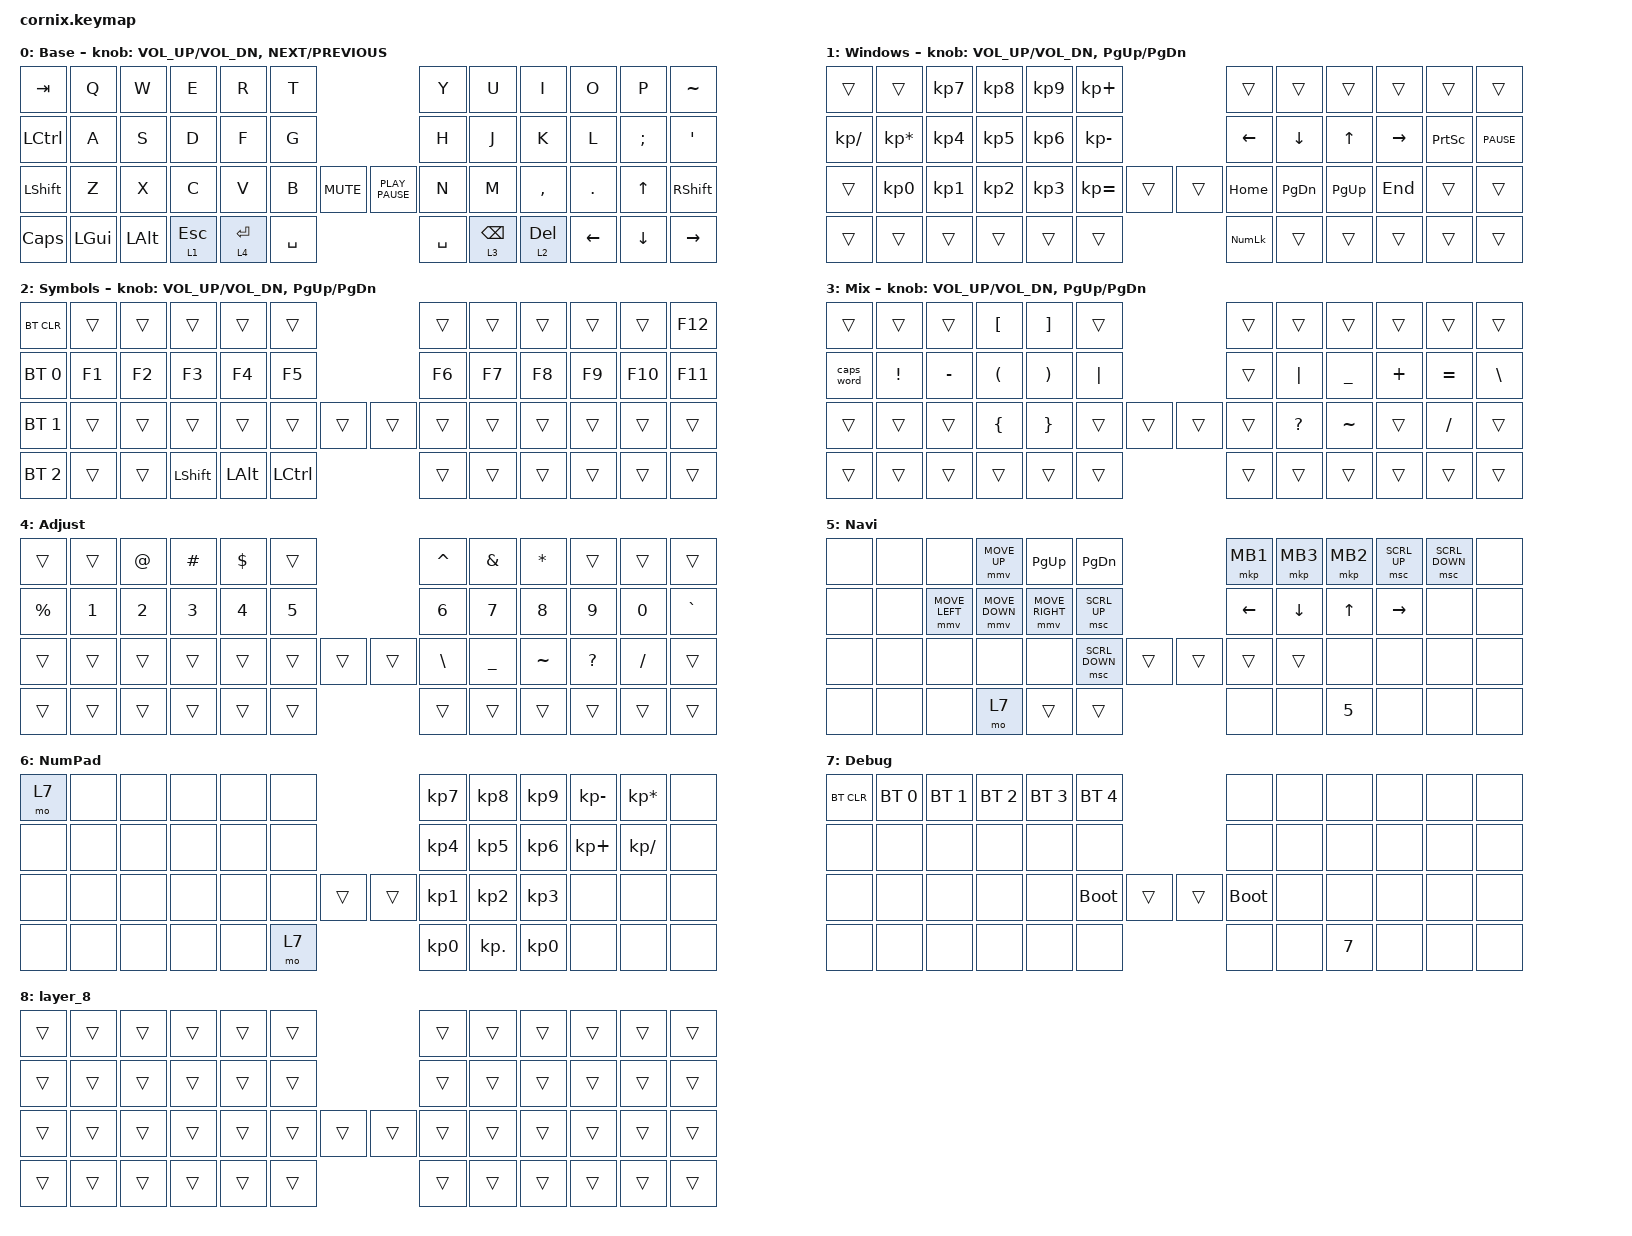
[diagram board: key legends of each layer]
/*
 * Copyright (c) 2020 The ZMK Contributors
 *
 * SPDX-License-Identifier: MIT
 */

#include "zmk-helpers/helper.h"
#include "includes/cornix54.h"

// tap windows for ctl alt and gui

#define HM_TAPPING_TERM 250
#define HM_TAPPING_REPEAT 210

// quick tapping for shift

#define HM_TAPPING_TERM_FAST 200
#define HM_PRIOR_IDLE 70
#define BASE 0
#define WIN 1
#define LOWER 2
#define RAISE 3
#define ADJUST 4
#define NAVI   5
#define NUM    6
#define DEBUG  7

// https://github.com/urob/zmk-config/tree/main#timeless-homerow-mods

#define KEYS_L LT0 LT1 LT2 LT3 LT4 LT5 LM0 LM1 LM2 LM3 LM4 LM5 LB0 LB1 LB2 LB3 LB4 LB5  // left hand
#define KEYS_R RT0 RT1 RT2 RT3 RT4 RT5 RM0 RM1 RM2 RM3 RM4 RM5 RB0 RB1 RB2 RB3 RB4 RB5  // right hand
#define THUMBS LH1 LH0 RH0 RH1
#define KEYS_T LH1 LH0 RH0 RH1
#define ZMK_POINTING_DEFAULT_SCRL_VAL 15

#include <behaviors.dtsi>
#include <dt-bindings/zmk/bt.h>
#include <dt-bindings/zmk/keys.h>
#include <dt-bindings/zmk/pointing.h>

/ {
    // Activate ADJUST layer by pressing raise and lower

    behaviors {
        hm_l: homerow_mods_left {
            compatible = "zmk,behavior-hold-tap";
            #binding-cells = <2>;
            bindings = <&kp>, <&kp>;

            flavor = "balanced";
            tapping-term-ms = <HM_TAPPING_TERM>;
            quick-tap-ms = <200>;                // repeat on tap-into-hold
            require-prior-idle-ms = <HM_PRIOR_IDLE>;
            hold-trigger-key-positions = <KEYS_R KEYS_T>;
            hold-trigger-on-release;
        };

        hm_r: homerow_mods_right {
            compatible = "zmk,behavior-hold-tap";
            #binding-cells = <2>;
            bindings = <&kp>, <&kp>;

            flavor = "balanced";
            tapping-term-ms = <HM_TAPPING_TERM>;
            quick-tap-ms = <200>;
            require-prior-idle-ms = <HM_PRIOR_IDLE>;
            hold-trigger-key-positions = <KEYS_L KEYS_T>;
            hold-trigger-on-release;
        };

        // Positional Homerow mods for shift
        // Use faster tapping term and disable some features that may
        // cause false negatives.

        hm_shift_l: hm_shift_l {
            compatible = "zmk,behavior-hold-tap";
            #binding-cells = <2>;
            bindings = <&kp>, <&kp>;

            //flavor = "balanced";

            flavor = "balanced";
            tapping-term-ms = <HM_TAPPING_TERM_FAST>;
            quick-tap-ms = <200>;
            require-prior-idle-ms = <HM_PRIOR_IDLE>;
            hold-trigger-key-positions = <KEYS_R KEYS_T>;
            hold-trigger-on-release;
        };

        hm_shift_r: hm_shift_r {
            compatible = "zmk,behavior-hold-tap";
            #binding-cells = <2>;
            bindings = <&kp>, <&kp>;

            flavor = "balanced";
            tapping-term-ms = <HM_TAPPING_TERM_FAST>;
            quick-tap-ms = <200>;
            require-prior-idle-ms = <HM_PRIOR_IDLE>;
            hold-trigger-key-positions = <KEYS_L KEYS_T>;

            // for quick tapping; shift+~

            hold-trigger-on-release;
        };

        /*
         * Non-Positional Homerow Mods
         * Used for &mm_grescm_gui behavior on left hand.
         *
         * Usage: &hm LSHFT T
         * Tap: T
         * Tap-Tap-Hold: Repeat T
         * Hold: LSHIFT
         */

        hm: homerow_mods {
            compatible = "zmk,behavior-hold-tap";
            #binding-cells = <2>;
            bindings = <&kp>, <&kp>;

            flavor = "balanced";
            tapping-term-ms = <HM_TAPPING_TERM>;
            quick-tap-ms = <200>;
        };

        lt: layer_tap {
            compatible = "zmk,behavior-hold-tap";
            #binding-cells = <2>;
            bindings = <&mo>, <&kp>;

            flavor = "hold-preferred";
            tapping-term-ms = <HM_TAPPING_TERM>;
            quick-tap-ms = <200>;
        };
    };

    conditional_layers { compatible = "zmk,conditional-layers"; };

    combos {
        compatible = "zmk,combos";

        cb_ltm {
            bindings = <&kp ESC>;
            key-positions = <2 4>;
            layers = <0 1>;
        };

        cb_lm {
            bindings = <&kp TAB>;
            key-positions = <14 16>;
            layers = <0 1>;
        };

        cb_enter {
            bindings = <&kp RET>;
            key-positions = <21 19>;
            layers = <0 1>;
        };

        layer3 {
            bindings = <&kp N3>;
            key-positions = <5 6>;
        };

        layer4 {
            bindings = <&kp N4>;
            key-positions = <5 6>;
        };
    };

    keymap {
        compatible = "zmk,keymap";

        default_layer {
            display-name = "Base";

            // ------------------------------------------------------------------------------------------------------------
            // |   `   |  1  |  2  |  3   |  4   |  5   |                   |  6   |  7    |  8    |  9   |   0   |       |
            // |  ESC  |  Q  |  W  |  E   |  R   |  T   |                   |  Y   |  U    |  I    |  O   |   P   | BKSPC |
            // |  TAB  |  A  |  S  |  D   |  F   |  G   |                   |  H   |  J    |  K    |  L   |   ;   |   '   |
            // | SHIFT |  Z  |  X  |  C   |  V   |  B   |  MUTE  |  |       |  N   |  M    |  ,    |  .   |   /   | SHIFT |
            //               | GUI | ALT  | CTRL | LOWER|  ENTER |  | SPACE | RAISE| CTRL  | ALT   | GUI  |

            bindings = <
&kp TAB         &kp Q         &kp W         &kp E         &kp R        &kp T                                    &kp Y      &kp U            &kp I         &kp O           &kp P           &kp TILDE
&kp LCTRL       &kp A         &kp S         &kp D         &kp F        &kp G                                    &kp H      &kp J            &kp K         &kp L           &kp SEMI        &kp SQT
&kp LEFT_SHIFT  &kp Z         &kp X         &kp C         &kp V        &kp B      &kp C_MUTE  &kp K_PLAY_PAUSE  &kp N      &kp M            &kp COMMA     &kp DOT         &kp UP_ARROW    &kp RIGHT_SHIFT
&kp CLCK        &kp LEFT_GUI  &kp LEFT_ALT  &lt 1 ESCAPE  &lt 4 ENTER  &kp SPACE                                &kp SPACE  &lt 3 BACKSPACE  &lt 2 DELETE  &kp LEFT_ARROW  &kp DOWN_ARROW  &kp RIGHT_ARROW
            >;

            sensor-bindings =
                <&inc_dec_kp C_VOL_UP C_VOL_DN>,
                <&inc_dec_kp C_NEXT C_PREVIOUS>;
        };

        win_layer {
            display-name = "Windows";

            // ------------------------------------------------------------------------------------------------------------
            // |   `   |  1  |  2  |  3   |  4   |  5   |                   |  6   |  7    |  8    |  9   |   0   |       |
            // |  ESC  |  Q  |  W  |  E   |  R   |  T   |                   |  Y   |  U    |  I    |  O   |   P   | BKSPC |
            // |  TAB  |  A  |  S  |  D   |  F   |  G   |                   |  H   |  J    |  K    |  L   |   ;   |   '   |
            // | SHIFT |  Z  |  X  |  C   |  V   |  B   |  MUTE  |  |       |  N   |  M    |  ,    |  .   |   /   | SHIFT |
            //               | GUI | ALT  | CTRL | LOWER|  ENTER |  | SPACE | RAISE| CTRL  | ALT   | GUI  |

            bindings = <
&trans         &trans           &kp KP_NUMBER_7  &kp KP_NUMBER_8  &kp KP_NUMBER_9  &kp KP_PLUS                   &trans          &trans     &trans     &trans     &trans           &trans
&kp KP_DIVIDE  &kp KP_MULTIPLY  &kp KP_NUMBER_4  &kp KP_NUMBER_5  &kp KP_NUMBER_6  &kp KP_MINUS                  &kp LEFT        &kp DOWN   &kp UP     &kp RIGHT  &kp PRINTSCREEN  &kp C_PAUSE
&trans         &kp KP_NUMBER_0  &kp KP_NUMBER_1  &kp KP_NUMBER_2  &kp KP_NUMBER_3  &kp KP_EQUAL  &trans  &trans  &kp HOME        &kp PG_DN  &kp PG_UP  &kp END    &trans           &trans
&trans         &trans           &trans           &trans           &trans           &trans                        &kp KP_NUMLOCK  &trans     &trans     &trans     &trans           &trans
            >;

            sensor-bindings = <&inc_dec_kp C_VOL_UP C_VOL_DN &inc_dec_kp PG_UP PG_DN>;
        };

        Symbol_layer {
            display-name = "Symbols";

            // TODO: Some binds are waiting for shifted keycode support.
            // -------------------------------
            // |       |  F1 |  F2 |  F3  |  F4  |  F5  |                   |  F6  |  F7   |  F8   |  F9  |  F10  |  F11  |
            // |   `   |  1  |  2  |  3   |  4   |  5   |                   |  6   |  7    |  8    |  9   |   0   |  F12  |
            // |       |  !  |  @  |  #   |  $   |  %   |                   |  ^   |  &    |  *    |  (   |   )   |   |   |
            // |       |  =  |  -  |  +   |  {   |  }   |        |  |       |  [   |  ]    |  ;    |  :   |   \   |       |
            //               |     |      |      |      |        |  |       |      |       |       |      |

            bindings = <
&bt BT_CLR    &trans  &trans  &trans     &trans    &trans                     &trans  &trans  &trans  &trans  &trans   &kp F12
&bt BT_SEL 0  &kp F1  &kp F2  &kp F3     &kp F4    &kp F5                     &kp F6  &kp F7  &kp F8  &kp F9  &kp F10  &kp F11
&bt BT_SEL 1  &trans  &trans  &trans     &trans    &trans     &trans  &trans  &trans  &trans  &trans  &trans  &trans   &trans
&bt BT_SEL 2  &trans  &trans  &kp LSHFT  &kp LALT  &kp LCTRL                  &trans  &trans  &trans  &trans  &trans   &trans
            >;

            sensor-bindings = <&inc_dec_kp C_VOL_UP C_VOL_DN &inc_dec_kp PG_UP PG_DN>;
        };

        Mix_layer {
            display-name = "Mix";

            // ------------------------------------------------------------------------------------------------------------
            // | BTCLR | BT1  | BT2  |  BT3  |  BT4  |  BT5 |                |      |      |       |      |       |       |
            // |       | INS  | PSCR | GUI   |       |      |                | PGUP |      |   ^   |      |       |       |
            // |       | ALT  | CTRL | SHIFT |       | CAPS |                | PGDN |   <- |   v   |  ->  |  DEL  | BKSPC |
            // |       | UNDO | CUT  | COPY  | PASTE |      |      |  |      |      |      |       |      |       |       |
            //                |      |       |       |      |      |  |      |      |      |       |      |

            bindings = <
&trans      &trans           &trans     &kp LEFT_BRACKET      &kp RIGHT_BRACKET      &trans                    &trans  &trans        &trans          &trans    &trans     &trans
&caps_word  &kp EXCLAMATION  &kp MINUS  &kp LEFT_PARENTHESIS  &kp RIGHT_PARENTHESIS  &kp PIPE                  &trans  &kp PIPE      &kp UNDERSCORE  &kp PLUS  &kp EQUAL  &kp BACKSLASH
&trans      &trans           &trans     &kp LEFT_BRACE        &kp RIGHT_BRACE        &trans    &trans  &trans  &trans  &kp QUESTION  &kp TILDE       &trans    &kp SLASH  &trans
&trans      &trans           &trans     &trans                &trans                 &trans                    &trans  &trans        &trans          &trans    &trans     &trans
            >;

            sensor-bindings = <&inc_dec_kp C_VOL_UP C_VOL_DN &inc_dec_kp PG_UP PG_DN>;
        };

        Adjust_layer {
            display-name = "Adjust";

            // ----------------------------------------------------------------------------------------------------------------------------
            // | BTCLR  |  BT1    |  BT2    |   BT3   |   BT4   |   BT5   |                  |      |      |       |      |       |       |
            // | moDEBUG| RGB_HUD | RGB_HUI | RGB_SAD | RGB_SAI | RGB_EFF |                  |      |      |       |      |       |       |
            // | EXTPWR | RGB_BRD | RGB_BRI |         |         |         |                  |      |      |       |      |       |       |
            // |        |         |         |         |         |         | RGB_TOG | |      |      |      |       |      |       |       |
            //                    |         |         |         |         |         | |      |      |      |       |      |

            bindings = <
&trans       &trans  &kp AT  &kp HASH  &kp DLLR  &trans                  &kp CARET      &kp AMPS        &kp STAR   &trans        &trans     &trans
&kp PERCENT  &kp N1  &kp N2  &kp N3    &kp N4    &kp N5                  &kp N6         &kp N7          &kp N8     &kp N9        &kp N0     &kp GRAVE
&trans       &trans  &trans  &trans    &trans    &trans  &trans  &trans  &kp BACKSLASH  &kp UNDERSCORE  &kp TILDE  &kp QUESTION  &kp SLASH  &trans
&trans       &trans  &trans  &trans    &trans    &trans                  &trans         &trans          &trans     &trans        &trans     &trans
            >;
        };

        Navi_layer {
            display-name = "Navi";
            bindings = <
&none  &none  &none           &mmv MOVE_UP    &kp PAGE_UP      &kp PAGE_DOWN                   &mkp MB1  &mkp MB3  &mkp MB2  &msc SCRL_UP  &msc SCRL_DOWN  &none
&none  &none  &mmv MOVE_LEFT  &mmv MOVE_DOWN  &mmv MOVE_RIGHT  &msc SCRL_UP                    &kp LEFT  &kp DOWN  &kp UP    &kp RIGHT     &none           &none
&none  &none  &none           &none           &none            &msc SCRL_DOWN  &trans  &trans  &trans    &trans    &none     &none         &none           &none
&none  &none  &none           &mo 7           &trans           &trans                          &none     &none     &kp N5    &none         &none           &none
            >;
        };

        KeyPad_layer {
            display-name = "NumPad";
            bindings = <
&mo 7  &none  &none  &none  &none  &none                  &kp KP_N7        &kp KP_N8        &kp KP_N9        &kp KP_MINUS  &kp KP_MULTIPLY  &none
&none  &none  &none  &none  &none  &none                  &kp KP_NUMBER_4  &kp KP_NUMBER_5  &kp KP_N6        &kp KP_PLUS   &kp KP_DIVIDE    &none
&none  &none  &none  &none  &none  &none  &trans  &trans  &kp KP_NUMBER_1  &kp KP_NUMBER_2  &kp KP_N3        &none         &none            &none
&none  &none  &none  &none  &none  &mo 7                  &kp KP_N0        &kp KP_DOT       &kp KP_NUMBER_0  &none         &none            &none
            >;
        };

        Debug_layer {
            display-name = "Debug";

            // ----------------------------------------------------------------------------------------------------------------------------
            // | BTCLR  |  BT1    |  BT2    |   BT3   |   BT4   |   BT5   |                  |      |      |       |      |       |       |
            // | EXTPWR | BTCLR | RGB_HUI | RGB_SAD | RGB_SAI | RGB_EFF |                  |      |      |       |      |       |       |
            // |        | RGB_BRD | RGB_BRI |         |         |         |                  |      |      |       |      |       |       |
            // |        |         |         |         |         |         | RGB_TOG | |      |      |      |       |      |       |       |
            //                    |         |         |         |         |         | |      |      |      |       |      |

            bindings = <
&bt BT_CLR  &bt BT_SEL 0  &bt BT_SEL 1  &bt BT_SEL 2  &bt BT_SEL 3  &bt BT_SEL 4                  &none        &none  &none   &none  &none  &none
&none       &none         &none         &none         &none         &none                         &none        &none  &none   &none  &none  &none
&none       &none         &none         &none         &none         &bootloader   &trans  &trans  &bootloader  &none  &none   &none  &none  &none
&none       &none         &none         &none         &none         &none                         &none        &none  &kp N7  &none  &none  &none
            >;
        };

        layer_8 {
            bindings = <
&trans  &trans  &trans  &trans  &trans  &trans                  &trans  &trans  &trans  &trans  &trans  &trans
&trans  &trans  &trans  &trans  &trans  &trans                  &trans  &trans  &trans  &trans  &trans  &trans
&trans  &trans  &trans  &trans  &trans  &trans  &trans  &trans  &trans  &trans  &trans  &trans  &trans  &trans
&trans  &trans  &trans  &trans  &trans  &trans                  &trans  &trans  &trans  &trans  &trans  &trans
            >;
        };
    };
};
